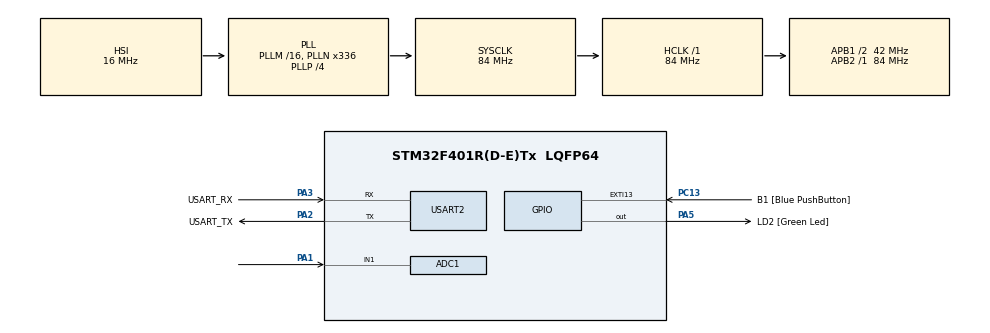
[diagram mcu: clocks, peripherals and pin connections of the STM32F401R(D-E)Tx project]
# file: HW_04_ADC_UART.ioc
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ADC1.Channel-0\#ChannelRegularConversion=ADC_CHANNEL_1
ADC1.ExternalTrigConv=ADC_EXTERNALTRIGCONV_T2_TRGO
ADC1.NbrOfConversionFlag=1
ADC1.Rank-0\#ChannelRegularConversion=1
ADC1.SamplingTime-0\#ChannelRegularConversion=ADC_SAMPLETIME_480CYCLES
ADC1.master=1
Mcu.Family=STM32F4
Mcu.Name=STM32F401R(D-E)Tx
Mcu.Package=LQFP64
NVIC.ADC_IRQn=true\:0\:0\:false\:false\:true\:true\:true\:true
NVIC.PriorityGroup=NVIC_PRIORITYGROUP_0
PA1.Signal=SharedAnalog_PA1
PA13.GPIO_Label=TMS
PA13.Mode=Serial_Wire
PA13.Signal=SYS_JTMS-SWDIO
PA14.GPIO_Label=TCK
PA14.Mode=Serial_Wire
PA14.Signal=SYS_JTCK-SWCLK
PA2.GPIO_Label=USART_TX
PA2.GPIO_Mode=GPIO_MODE_AF_PP
PA2.GPIO_PuPd=GPIO_NOPULL
PA2.GPIO_Speed=GPIO_SPEED_FREQ_LOW
PA2.Mode=Asynchronous
PA2.Signal=USART2_TX
PA3.GPIO_Label=USART_RX
PA3.GPIO_Mode=GPIO_MODE_AF_PP
PA3.GPIO_PuPd=GPIO_NOPULL
PA3.GPIO_Speed=GPIO_SPEED_FREQ_LOW
PA3.Mode=Asynchronous
PA3.Signal=USART2_RX
PA5.GPIO_Label=LD2 [Green Led]
PA5.GPIO_Mode=GPIO_MODE_OUTPUT_PP
PA5.GPIO_PuPd=GPIO_NOPULL
PA5.GPIO_Speed=GPIO_SPEED_FREQ_LOW
PA5.Signal=GPIO_Output
PB3.GPIO_Label=SWO
PB3.Signal=SYS_JTDO-SWO
PC13-ANTI_TAMP.GPIO_Label=B1 [Blue PushButton]
PC13-ANTI_TAMP.GPIO_ModeDefaultEXTI=GPIO_MODE_IT_FALLING
PC13-ANTI_TAMP.GPIO_PuPd=GPIO_NOPULL
PC13-ANTI_TAMP.Signal=GPXTI13
PC14-OSC32_IN.Mode=LSE-External-Oscillator
PC14-OSC32_IN.Signal=RCC_OSC32_IN
PC15-OSC32_OUT.Mode=LSE-External-Oscillator
PC15-OSC32_OUT.Signal=RCC_OSC32_OUT
PH0\ -\ OSC_IN.Mode=HSE-External-Clock-Source
PH0\ -\ OSC_IN.Signal=RCC_OSC_IN
PH1\ -\ OSC_OUT.Mode=HSE-External-Clock-Source
PH1\ -\ OSC_OUT.Signal=RCC_OSC_OUT
ProjectManager.HeapSize=0x200
ProjectManager.StackSize=0x400
ProjectManager.TargetToolchain=STM32CubeIDE
RCC.48MHZClocksFreq_Value=48000000
RCC.AHBFreq_Value=84000000
RCC.APB1CLKDivider=RCC_HCLK_DIV2
RCC.APB1Freq_Value=42000000
RCC.APB1TimFreq_Value=84000000
RCC.APB2Freq_Value=84000000
RCC.APB2TimFreq_Value=84000000
RCC.CortexFreq_Value=84000000
RCC.HCLKFreq_Value=84000000
RCC.HSE_VALUE=8000000
RCC.HSI_VALUE=16000000
RCC.PLLN=336
RCC.PLLP=RCC_PLLP_DIV4
RCC.PLLQ=7
RCC.SYSCLKFreq_VALUE=84000000
RCC.SYSCLKSource=RCC_SYSCLKSOURCE_PLLCLK
RCC.VCOOutputFreq_Value=336000000
SH.SharedAnalog_PA1.0=GPIO_Analog
SH.SharedAnalog_PA1.1=ADC1_IN1,IN1
TIM2.Period=84000-1
TIM2.Prescaler=1000-1
TIM2.TIM_MasterOutputTrigger=TIM_TRGO_UPDATE
USART2.VirtualMode=VM_ASYNC
VP_TIM2_VS_ClockSourceINT.Mode=Internal
board=NUCLEO-F401RE

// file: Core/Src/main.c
/* USER CODE BEGIN Header */
/**
 ******************************************************************************
 * @file           : main.c
 * @brief          : Main program body
 ******************************************************************************
 * @attention
 *
 * Copyright (c) 2022 STMicroelectronics.
 * All rights reserved.
 *
 * This software is licensed under terms that can be found in the LICENSE file
 * in the root directory of this software component.
 * If no LICENSE file comes with this software, it is provided AS-IS.
 *
 ******************************************************************************
 */
/* USER CODE END Header */
#include "main.h"

/* USER CODE BEGIN Includes */
#include <stdio.h>
/* USER CODE END Includes */

/* USER CODE BEGIN PTD */
int completed = 0;
/* USER CODE END PTD */

ADC_HandleTypeDef hadc1;

TIM_HandleTypeDef htim2;

UART_HandleTypeDef huart2;

void SystemClock_Config(void);
static void MX_GPIO_Init(void);
static void MX_USART2_UART_Init(void);
static void MX_ADC1_Init(void);
static void MX_TIM2_Init(void);

/* USER CODE BEGIN 0 */
// ADC conversion callback
void HAL_ADC_ConvCpltCallback(ADC_HandleTypeDef *hadc) {
	HAL_TIM_Base_Stop(&htim2);
	if (completed == 0)
		completed = 1;
	HAL_TIM_Base_Start(&htim2);
}
/* USER CODE END 0 */

int main(void) {

	/* MCU Configuration--------------------------------------------------------*/

	/* Reset of all peripherals, Initializes the Flash interface and the Systick. */
	HAL_Init();

	/* USER CODE BEGIN Init */
	char string[64];
	int length;
	/* USER CODE END Init */

	/* Configure the system clock */
	SystemClock_Config();

	/* Initialize all configured peripherals */
	MX_GPIO_Init();
	MX_USART2_UART_Init();
	MX_ADC1_Init();
	MX_TIM2_Init();
	/* USER CODE BEGIN 2 */
	HAL_TIM_Base_Start(&htim2);
	HAL_ADC_Start_IT(&hadc1);
	/* USER CODE END 2 */

	/* Infinite loop */
	while (1) {

		/* USER CODE BEGIN 3 */
		if (completed == 1) {
			int conversion = HAL_ADC_GetValue(&hadc1);
			float voltage = conversion * 3.3 / 4096.0;
			length = snprintf(string, sizeof(string), "Voltage = %.3f\r\n", voltage);
			// prints the read voltage value with serial communication via UART
			HAL_UART_Transmit(&huart2, (uint8_t*) string, length, 100);
			completed = 0;

		}
	}
	/* USER CODE END 3 */
}

void SystemClock_Config(void) {
	RCC_OscInitTypeDef RCC_OscInitStruct = { 0 };
	RCC_ClkInitTypeDef RCC_ClkInitStruct = { 0 };

	/** Configure the main internal regulator output voltage
	 */
	__HAL_RCC_PWR_CLK_ENABLE();
	__HAL_PWR_VOLTAGESCALING_CONFIG(PWR_REGULATOR_VOLTAGE_SCALE2);

	/** Initializes the RCC Oscillators according to the specified parameters
	 * in the RCC_OscInitTypeDef structure.
	 */
	RCC_OscInitStruct.OscillatorType = RCC_OSCILLATORTYPE_HSI;
	RCC_OscInitStruct.HSIState = RCC_HSI_ON;
	RCC_OscInitStruct.HSICalibrationValue = RCC_HSICALIBRATION_DEFAULT;
	RCC_OscInitStruct.PLL.PLLState = RCC_PLL_ON;
	RCC_OscInitStruct.PLL.PLLSource = RCC_PLLSOURCE_HSI;
	RCC_OscInitStruct.PLL.PLLM = 16;
	RCC_OscInitStruct.PLL.PLLN = 336;
	RCC_OscInitStruct.PLL.PLLP = RCC_PLLP_DIV4;
	RCC_OscInitStruct.PLL.PLLQ = 7;
	if (HAL_RCC_OscConfig(&RCC_OscInitStruct) != HAL_OK) {
		Error_Handler();
	}

	/** Initializes the CPU, AHB and APB buses clocks
	 */
	RCC_ClkInitStruct.ClockType = RCC_CLOCKTYPE_HCLK | RCC_CLOCKTYPE_SYSCLK | RCC_CLOCKTYPE_PCLK1 | RCC_CLOCKTYPE_PCLK2;
	RCC_ClkInitStruct.SYSCLKSource = RCC_SYSCLKSOURCE_PLLCLK;
	RCC_ClkInitStruct.AHBCLKDivider = RCC_SYSCLK_DIV1;
	RCC_ClkInitStruct.APB1CLKDivider = RCC_HCLK_DIV2;
	RCC_ClkInitStruct.APB2CLKDivider = RCC_HCLK_DIV1;

	if (HAL_RCC_ClockConfig(&RCC_ClkInitStruct, FLASH_LATENCY_2) != HAL_OK) {
		Error_Handler();
	}
}

static void MX_ADC1_Init(void) {

	ADC_ChannelConfTypeDef sConfig = { 0 };

	/** Configure the global features of the ADC (Clock, Resolution, Data Alignment and number of conversion)
	 */
	hadc1.Instance = ADC1;
	hadc1.Init.ClockPrescaler = ADC_CLOCK_SYNC_PCLK_DIV4;
	hadc1.Init.Resolution = ADC_RESOLUTION_12B;
	hadc1.Init.ScanConvMode = DISABLE;
	hadc1.Init.ContinuousConvMode = DISABLE;
	hadc1.Init.DiscontinuousConvMode = DISABLE;
	hadc1.Init.ExternalTrigConvEdge = ADC_EXTERNALTRIGCONVEDGE_RISING;
	hadc1.Init.ExternalTrigConv = ADC_EXTERNALTRIGCONV_T2_TRGO;
	hadc1.Init.DataAlign = ADC_DATAALIGN_RIGHT;
	hadc1.Init.NbrOfConversion = 1;
	hadc1.Init.DMAContinuousRequests = DISABLE;
	hadc1.Init.EOCSelection = ADC_EOC_SINGLE_CONV;
	if (HAL_ADC_Init(&hadc1) != HAL_OK) {
		Error_Handler();
	}

	/** Configure for the selected ADC regular channel its corresponding rank in the sequencer and its sample time.
	 */
	sConfig.Channel = ADC_CHANNEL_1;
	sConfig.Rank = 1;
	sConfig.SamplingTime = ADC_SAMPLETIME_480CYCLES;
	if (HAL_ADC_ConfigChannel(&hadc1, &sConfig) != HAL_OK) {
		Error_Handler();
	}

}

static void MX_TIM2_Init(void) {

	TIM_ClockConfigTypeDef sClockSourceConfig = { 0 };
	TIM_MasterConfigTypeDef sMasterConfig = { 0 };

	htim2.Instance = TIM2;
	htim2.Init.Prescaler = 1000 - 1;
	htim2.Init.CounterMode = TIM_COUNTERMODE_UP;
	htim2.Init.Period = 84000 - 1;
	htim2.Init.ClockDivision = TIM_CLOCKDIVISION_DIV1;
	htim2.Init.AutoReloadPreload = TIM_AUTORELOAD_PRELOAD_DISABLE;
	if (HAL_TIM_Base_Init(&htim2) != HAL_OK) {
		Error_Handler();
	}
	sClockSourceConfig.ClockSource = TIM_CLOCKSOURCE_INTERNAL;
	if (HAL_TIM_ConfigClockSource(&htim2, &sClockSourceConfig) != HAL_OK) {
		Error_Handler();
	}
	sMasterConfig.MasterOutputTrigger = TIM_TRGO_UPDATE;
	sMasterConfig.MasterSlaveMode = TIM_MASTERSLAVEMODE_DISABLE;
	if (HAL_TIMEx_MasterConfigSynchronization(&htim2, &sMasterConfig) != HAL_OK) {
		Error_Handler();
	}

}

static void MX_USART2_UART_Init(void) {

	huart2.Instance = USART2;
	huart2.Init.BaudRate = 115200;
	huart2.Init.WordLength = UART_WORDLENGTH_8B;
	huart2.Init.StopBits = UART_STOPBITS_1;
	huart2.Init.Parity = UART_PARITY_NONE;
	huart2.Init.Mode = UART_MODE_TX_RX;
	huart2.Init.HwFlowCtl = UART_HWCONTROL_NONE;
	huart2.Init.OverSampling = UART_OVERSAMPLING_16;
	if (HAL_UART_Init(&huart2) != HAL_OK) {
		Error_Handler();
	}

}

static void MX_GPIO_Init(void) {
	GPIO_InitTypeDef GPIO_InitStruct = { 0 };

	/* GPIO Ports Clock Enable */
	__HAL_RCC_GPIOC_CLK_ENABLE();
	__HAL_RCC_GPIOH_CLK_ENABLE();
	__HAL_RCC_GPIOA_CLK_ENABLE();
	__HAL_RCC_GPIOB_CLK_ENABLE();

	/*Configure GPIO pin Output Level */
	HAL_GPIO_WritePin(LD2_GPIO_Port, LD2_Pin, GPIO_PIN_RESET);

	/*Configure GPIO pin : B1_Pin */
	GPIO_InitStruct.Pin = B1_Pin;
	GPIO_InitStruct.Mode = GPIO_MODE_IT_FALLING;
	GPIO_InitStruct.Pull = GPIO_NOPULL;
	HAL_GPIO_Init(B1_GPIO_Port, &GPIO_InitStruct);

	/*Configure GPIO pin : LD2_Pin */
	GPIO_InitStruct.Pin = LD2_Pin;
	GPIO_InitStruct.Mode = GPIO_MODE_OUTPUT_PP;
	GPIO_InitStruct.Pull = GPIO_NOPULL;
	GPIO_InitStruct.Speed = GPIO_SPEED_FREQ_LOW;
	HAL_GPIO_Init(LD2_GPIO_Port, &GPIO_InitStruct);

}

void Error_Handler(void) {
	__disable_irq();
	while (1) {
	}
}
